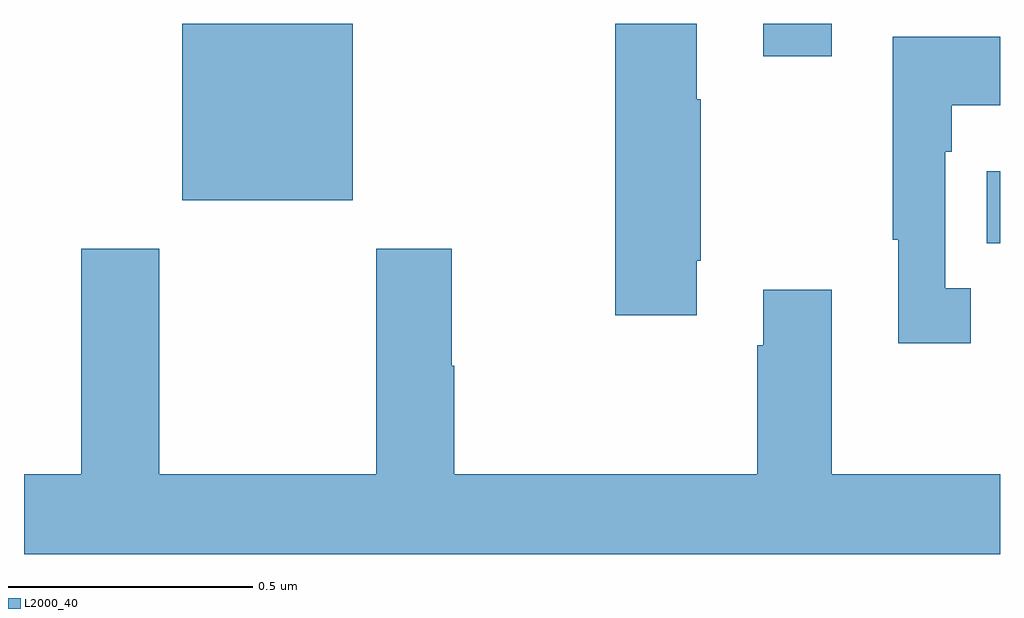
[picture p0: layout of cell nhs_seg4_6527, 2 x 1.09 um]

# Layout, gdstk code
import gdstk
lib = gdstk.Library(unit=1e-6, precision=1e-09)
def R(c, l, rs):  # rectangles x0, y0, x1, y1
    for r in rs: c.add(gdstk.rectangle(r[:2], r[2:], *l))
def P(c, l, *ps):  # polygons
    for p in ps: c.add(gdstk.Polygon(p, *l))
L2000_40 = (2000, 40)

nhs_seg4_6527 = lib.new_cell('nhs_seg4_6527')
R(nhs_seg4_6527, L2000_40, [(192.973,805.45,193,805.597), (191.324,805.538,191.674,805.9), (192.515,805.833,192.655,805.9)])
P(nhs_seg4_6527, L2000_40, [(192.379,805.414),(192.387,805.414),(192.387,805.745),(192.379,805.745),(192.379,805.9),(192.212,805.9),(192.212,805.302),(192.379,805.302)],
  [(192.94,805.358),(192.888,805.358),(192.888,805.637),(192.901,805.637),(192.901,805.733),(193,805.733),(193,805.873),(192.78,805.873),(192.78,805.457),(192.791,805.457),(192.791,805.245),(192.94,805.245)],
  [(193,804.976),(192.655,804.976),(192.655,805.354),(192.515,805.354),(192.515,805.241),(192.503,805.241),(192.503,804.976),(191.882,804.976),(191.882,805.199),(191.877,805.199),(191.877,805.438),(191.722,805.438),(191.722,804.976),(191.277,804.976),(191.277,805.438),(191.117,805.438),(191.117,804.976),(191,804.976),(191,804.812),(193,804.812)])

lib.write_gds('nhs_seg4_6527.gds')
